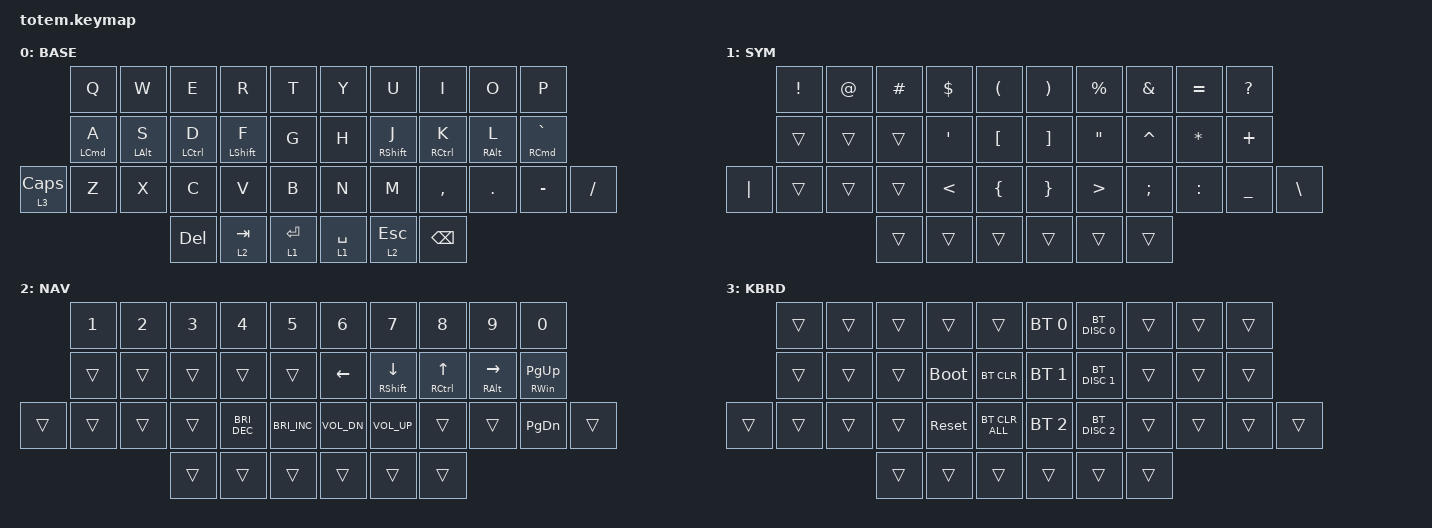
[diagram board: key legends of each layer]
//
//                                                        ▀▀▀▀▀     ▀▀▀▀▀          ▀▀█▀▀
//                                                        ▄▀▀▀▄  ▄  ▄▀▀▀▄  ▄  ▄▀▀▀▄  █  ▄▀▀▀▄
//                                                        █   █  █  █   █  █  █   █  █  █   █
//                                                         ▀▀▀   █   ▀▀▀   █   ▀▀▀   ▀   ▀▀▀
//                                                               █      ▄▄▄█▄▄▄    █   █  
//                                                               ▀      █  █  █     █▄█
//                                                             ▀▀▀▀▀    █  █  █      ▀
//                                                                      ▀  ▀  ▀
//
// ▄▄▄▄▄▄▄▄▄▄▄▄▄▄▄▄▄▄▄▄▄▄▄▄▄▄▄▄▄▄▄▄▄▄▄▄▄▄▄▄▄▄▄▄▄▄▄▄▄▄▄▄▄▄▄▄▄▄▄▄▄▄▄▄▄▄▄▄▄▄▄▄▄▄▄▄▄▄▄▄▄▄▄▄▄▄▄▄▄▄▄▄▄▄▄▄▄▄▄▄▄▄▄▄▄▄▄▄▄▄▄▄▄▄▄▄▄▄▄▄▄▄▄▄▄▄▄▄▄▄▄▄▄▄▄▄▄▄▄▄▄▄▄▄▄▄▄▄▄

#include <behaviors.dtsi>
#include <dt-bindings/zmk/bt.h>
#include <dt-bindings/zmk/keys.h>

#define BASE 0
#define NAV  1
#define SYM  2
#define ADJ  3
#define TVP1 4
#define TVP2 5

&mt {
    quick-tap-ms = <100>;
    global-quick-tap;
    flavor = "tap-preferred";
    tapping-term-ms = <170>;
};

&lt {
    tapping-term-ms = <280>;
    quick-tap-ms = <175>;
    require-prior-idle-ms = <150>;
    hold-trigger-on-release;
};

/ {
    combos { compatible = "zmk,combos"; };

    behaviors {
        hml: hml {
            compatible = "zmk,behavior-hold-tap";
            label = "HML";
            bindings = <&kp>, <&kp>;

            #binding-cells = <2>;
            tapping-term-ms = <280>;
            quick-tap-ms = <175>;
            flavor = "tap-preferred";
            hold-trigger-on-release;
            require-prior-idle-ms = <150>;
            hold-trigger-key-positions = <16 17 18 19 5 6 7 8 9 15 16 17 18 19 26 27 28 29 30 31 35 36 37 34 33 32>;
        };

        hmr: hmr {
            compatible = "zmk,behavior-hold-tap";
            label = "HMR";
            bindings = <&kp>, <&kp>;

            #binding-cells = <2>;
            tapping-term-ms = <280>;
            quick-tap-ms = <175>;
            flavor = "tap-preferred";
            hold-trigger-on-release;
            require-prior-idle-ms = <150>;
            hold-trigger-key-positions = <0 1 2 3 4 10 11 12 13 14 20 21 22 23 24 25 32 33 34 37 36 35>;
        };
    };

    keymap {
        compatible = "zmk,keymap";

        // ▄▄▄▄▄▄▄▄▄▄▄▄▄▄▄▄▄▄▄▄▄▄▄▄▄▄▄▄▄▄▄▄▄▄▄▄▄▄▄▄▄▄▄▄▄▄▄▄▄▄▄▄▄▄▄▄▄▄▄▄▄▄▄▄▄▄▄▄▄▄▄▄▄▄▄▄▄▄▄▄▄▄▄▄▄▄▄▄▄▄▄▄▄▄▄▄▄▄▄▄▄▄▄▄▄▄▄▄▄▄▄▄▄▄▄▄▄▄▄▄▄▄▄▄▄▄▄▄▄▄▄▄▄▄▄▄▄▄▄▄▄▄▄▄▄▄▄▄▄

        base_layer {
            // ┏━━━━━━━━━━━━━━━━━━━━━━━━━━━━━━━━━━━━━━━┓

            label = "BASE";

            // ┗━━━━━━━━━━━━━━━━━━━━━━━━━━━━━━━━━━━━━━━┛
            //             ┏━━━━━━━━━━━┳━━━━━━━━━━━┳━━━━━━━━━━━┳━━━━━━━━━━━┳━━━━━━━━━━━┓   ┏━━━━━━━━━━━┳━━━━━━━━━━━┳━━━━━━━━━━━┳━━━━━━━━━━━┳━━━━━━━━━━━┓
            //             ┃     Q     ┃     W     ┃     F     ┃     P     ┃     G     ┃   ┃     J     ┃     L     ┃     U     ┃     Y     ┃     ;     ┃
            //             ┣━━━━━━━━━━━╋━━━━━━━━━━━╋━━━━━━━━━━━╋━━━━━━━━━━━╋━━━━━━━━━━━┫   ┣━━━━━━━━━━━╋━━━━━━━━━━━╋━━━━━━━━━━━╋━━━━━━━━━━━╋━━━━━━━━━━━┫
            //             ┃     A     ┃     R     ┃     S     ┃     T     ┃     D     ┃   ┃     H     ┃     N     ┃     E     ┃     I     ┃     O     ┃
            // ┏━━━━━━━━━━━╋━━━━━━━━━━━╋━━━━━━━━━━━╋━━━━━━━━━━━╋━━━━━━━━━━━╋━━━━━━━━━━━┫   ┣━━━━━━━━━━━╋━━━━━━━━━━━╋━━━━━━━━━━━╋━━━━━━━━━━━╋━━━━━━━━━━━╋━━━━━━━━━━━┓
            // ┃     Q     ┃     Z     ┃     X     ┃     C     ┃     V     ┃     B     ┃   ┃     K     ┃     M     ┃     ,     ┃     .     ┃     /     ┃     \     ┃
            // ┗━━━━━━━━━━━┻━━━━━━━━━━━┻━━━━━━━━━━━╋━━━━━━━━━━━╋━━━━━━━━━━━╋━━━━━━━━━━━┫   ┣━━━━━━━━━━━╋━━━━━━━━━━━╋━━━━━━━━━━━╋━━━━━━━━━━━┻━━━━━━━━━━━┻━━━━━━━━━━━┛
            //                                     ┃    DEL    ┃    TAB    ┃    SPC    ┃   ┃   ENTER   ┃           ┃   BSPC    ┃
            //                                     ┗━━━━━━━━━━━┻━━━━━━━━━━━┻━━━━━━━━━━━┛   ┗━━━━━━━━━━━┻━━━━━━━━━━━┻━━━━━━━━━━━┛

            bindings = <
                &kp Q                &kp W            &kp E         &kp R              &kp T          &kp Y        &kp U               &kp I          &kp O             &kp P
                &hml LEFT_COMMAND A  &hml LEFT_ALT S  &hml LCTRL D  &hml LEFT_SHIFT F  &kp G          &kp H        &hmr RIGHT_SHIFT J  &hmr RCTRL K   &hmr RIGHT_ALT L  &hmr RIGHT_COMMAND GRAVE
&lt 3 CAPSLOCK  &kp Z                &kp X            &kp C         &kp V              &kp B          &kp N        &kp M               &kp COMMA      &kp DOT           &kp MINUS                 &kp SLASH
                                                      &kp DELETE    &lt 2 TAB          &lt 1 ENTER    &lt 1 SPACE  &lt 2 ESC           &kp BACKSPACE
            >;
        };

        // ▄▄▄▄▄▄▄▄▄▄▄▄▄▄▄▄▄▄▄▄▄▄▄▄▄▄▄▄▄▄▄▄▄▄▄▄▄▄▄▄▄▄▄▄▄▄▄▄▄▄▄▄▄▄▄▄▄▄▄▄▄▄▄▄▄▄▄▄▄▄▄▄▄▄▄▄▄▄▄▄▄▄▄▄▄▄▄▄▄▄▄▄▄▄▄▄▄▄▄▄▄▄▄▄▄▄▄▄▄▄▄▄▄▄▄▄▄▄▄▄▄▄▄▄▄▄▄▄▄▄▄▄▄▄▄▄▄▄▄▄▄▄▄▄▄▄▄▄▄

        symbols {
            // ┏━━━━━━━━━━━━━━━━━━━━━━━━━━━━━━━━━━━━━━━┓

            label = "SYM";

            // ┗━━━━━━━━━━━━━━━━━━━━━━━━━━━━━━━━━━━━━━━┛
            //             ┏━━━━━━━━━━━┳━━━━━━━━━━━┳━━━━━━━━━━━┳━━━━━━━━━━━┳━━━━━━━━━━━┓   ┏━━━━━━━━━━━┳━━━━━━━━━━━┳━━━━━━━━━━━┳━━━━━━━━━━━┳━━━━━━━━━━━┓
            //             ┃           ┃           ┃     UP    ┃           ┃     {     ┃   ┃     }     ┃     7     ┃     8     ┃     9     ┃     +     ┃
            //             ┣━━━━━━━━━━━╋━━━━━━━━━━━╋━━━━━━━━━━━╋━━━━━━━━━━━╋━━━━━━━━━━━┫   ┣━━━━━━━━━━━╋━━━━━━━━━━━╋━━━━━━━━━━━╋━━━━━━━━━━━╋━━━━━━━━━━━┫
            //             ┃   SHIFT   ┃   LEFT    ┃    DOWN   ┃   RIGHT   ┃     [     ┃   ┃     ]     ┃     4     ┃     5     ┃     6     ┃     -     ┃
            // ┏━━━━━━━━━━━╋━━━━━━━━━━━╋━━━━━━━━━━━╋━━━━━━━━━━━╋━━━━━━━━━━━╋━━━━━━━━━━━┫   ┣━━━━━━━━━━━╋━━━━━━━━━━━╋━━━━━━━━━━━╋━━━━━━━━━━━╋━━━━━━━━━━━╋━━━━━━━━━━━┓
            // ┃           ┃           ┃   P UP    ┃  C LOCK   ┃  P DOWN   ┃     (     ┃   ┃     )     ┃     1     ┃     2     ┃     3     ┃     *     ┃           ┃
            // ┗━━━━━━━━━━━┻━━━━━━━━━━━┻━━━━━━━━━━━╋━━━━━━━━━━━╋━━━━━━━━━━━╋━━━━━━━━━━━┫   ┣━━━━━━━━━━━╋━━━━━━━━━━━╋━━━━━━━━━━━╋━━━━━━━━━━━┻━━━━━━━━━━━┻━━━━━━━━━━━┛
            //                                     ┃           ┃    TAB    ┃    SPC    ┃   ┃    DEL    ┃     0     ┃           ┃
            //                                     ┗━━━━━━━━━━━┻━━━━━━━━━━━┻━━━━━━━━━━━┛   ┗━━━━━━━━━━━┻━━━━━━━━━━━┻━━━━━━━━━━━┛

            bindings = <
          &kp EXCLAMATION  &kp AT_SIGN  &kp HASH  &kp DOLLAR     &kp LEFT_PARENTHESIS    &kp RIGHT_PARENTHESIS  &kp PERCENT        &kp AMPERSAND  &kp EQUAL     &kp QUESTION
          &trans           &trans       &trans    &kp SQT        &kp LBKT                &kp RBKT               &kp DOUBLE_QUOTES  &kp CARET      &kp ASTERISK  &kp PLUS
&kp PIPE  &trans           &trans       &trans    &kp LESS_THAN  &kp LEFT_BRACE          &kp RIGHT_BRACE        &kp GREATER_THAN   &kp SEMICOLON  &kp COLON     &kp UNDERSCORE  &kp BACKSLASH
                                        &trans    &trans         &trans                  &trans                 &trans             &trans
            >;
        };

        // ▄▄▄▄▄▄▄▄▄▄▄▄▄▄▄▄▄▄▄▄▄▄▄▄▄▄▄▄▄▄▄▄▄▄▄▄▄▄▄▄▄▄▄▄▄▄▄▄▄▄▄▄▄▄▄▄▄▄▄▄▄▄▄▄▄▄▄▄▄▄▄▄▄▄▄▄▄▄▄▄▄▄▄▄▄▄▄▄▄▄▄▄▄▄▄▄▄▄▄▄▄▄▄▄▄▄▄▄▄▄▄▄▄▄▄▄▄▄▄▄▄▄▄▄▄▄▄▄▄▄▄▄▄▄▄▄▄▄▄▄▄▄▄▄▄▄▄▄▄

        navigation {
            // ┏━━━━━━━━━━━━━━━━━━━━━━━━━━━━━━━━━━━━━━━┓

            label = "NAV";

            // ┗━━━━━━━━━━━━━━━━━━━━━━━━━━━━━━━━━━━━━━━┛
            //             ┏━━━━━━━━━━━┳━━━━━━━━━━━┳━━━━━━━━━━━┳━━━━━━━━━━━┳━━━━━━━━━━━┓   ┏━━━━━━━━━━━┳━━━━━━━━━━━┳━━━━━━━━━━━┳━━━━━━━━━━━┳━━━━━━━━━━━┓
            //             ┃     !     ┃     @     ┃     #     ┃     $     ┃     %     ┃   ┃     ˆ     ┃     &     ┃     Ü     ┃     '     ┃     "     ┃
            //             ┣━━━━━━━━━━━╋━━━━━━━━━━━╋━━━━━━━━━━━╋━━━━━━━━━━━╋━━━━━━━━━━━┫   ┣━━━━━━━━━━━╋━━━━━━━━━━━╋━━━━━━━━━━━╋━━━━━━━━━━━╋━━━━━━━━━━━┫
            //             ┃     Ä     ┃           ┃    SZ     ┃           ┃           ┃   ┃   MUTE    ┃   YEN     ┃   EURO    ┃  POUND    ┃     Ö     ┃
            // ┏━━━━━━━━━━━╋━━━━━━━━━━━╋━━━━━━━━━━━╋━━━━━━━━━━━╋━━━━━━━━━━━╋━━━━━━━━━━━┫   ┣━━━━━━━━━━━╋━━━━━━━━━━━╋━━━━━━━━━━━╋━━━━━━━━━━━╋━━━━━━━━━━━╋━━━━━━━━━━━┓
            // ┃           ┃  EMAIL1   ┃  EMAIL2   ┃           ┃           ┃           ┃   ┃   VOL-    ┃   VOL+    ┃   LAST    ┃   NEXT    ┃     \     ┃           ┃
            // ┗━━━━━━━━━━━┻━━━━━━━━━━━┻━━━━━━━━━━━╋━━━━━━━━━━━╋━━━━━━━━━━━╋━━━━━━━━━━━┫   ┣━━━━━━━━━━━╋━━━━━━━━━━━╋━━━━━━━━━━━╋━━━━━━━━━━━┻━━━━━━━━━━━┻━━━━━━━━━━━┛
            //                                     ┃           ┃    GIF    ┃    ADJ    ┃   ┃           ┃           ┃           ┃
            //                                     ┗━━━━━━━━━━━┻━━━━━━━━━━━┻━━━━━━━━━━━┛   ┗━━━━━━━━━━━┻━━━━━━━━━━━┻━━━━━━━━━━━┛

            bindings = <
        &kp NUMBER_1  &kp NUMBER_2  &kp NUMBER_3  &kp NUMBER_4          &kp NUMBER_5            &kp NUMBER_6    &kp NUMBER_7                 &kp NUMBER_8         &kp NUMBER_9                &kp NUMBER_0
        &trans        &trans        &trans        &trans                &trans                  &kp LEFT_ARROW  &hmr RIGHT_SHIFT DOWN_ARROW  &hmr RCTRL UP_ARROW  &hmr RIGHT_ALT RIGHT_ARROW  &hmr RIGHT_WIN PAGE_UP
&trans  &trans        &trans        &trans        &kp C_BRIGHTNESS_DEC  &kp C_BRIGHTNESS_INC    &kp C_VOL_DN    &kp C_VOL_UP                 &trans               &trans                      &kp PAGE_DOWN           &trans
                                    &trans        &trans                &trans                  &trans          &trans                       &trans
            >;
        };

        // ▄▄▄▄▄▄▄▄▄▄▄▄▄▄▄▄▄▄▄▄▄▄▄▄▄▄▄▄▄▄▄▄▄▄▄▄▄▄▄▄▄▄▄▄▄▄▄▄▄▄▄▄▄▄▄▄▄▄▄▄▄▄▄▄▄▄▄▄▄▄▄▄▄▄▄▄▄▄▄▄▄▄▄▄▄▄▄▄▄▄▄▄▄▄▄▄▄▄▄▄▄▄▄▄▄▄▄▄▄▄▄▄▄▄▄▄▄▄▄▄▄▄▄▄▄▄▄▄▄▄▄▄▄▄▄▄▄▄▄▄▄▄▄▄▄▄▄▄▄

        keyboard {
            // ┏━━━━━━━━━━━━━━━━━━━━━━━━━━━━━━━━━━━━━━━┓

            label = "KBRD";

            // ┗━━━━━━━━━━━━━━━━━━━━━━━━━━━━━━━━━━━━━━━┛
            //             ┏━━━━━━━━━━━┳━━━━━━━━━━━┳━━━━━━━━━━━┳━━━━━━━━━━━┳━━━━━━━━━━━┓   ┏━━━━━━━━━━━┳━━━━━━━━━━━┳━━━━━━━━━━━┳━━━━━━━━━━━┳━━━━━━━━━━━┓
            //             ┃   RESET   ┃ BT CLEAR  ┃  OUT TOG  ┃           ┃           ┃   ┃           ┃    F7     ┃    F8     ┃    F9     ┃    F12    ┃
            //             ┣━━━━━━━━━━━╋━━━━━━━━━━━╋━━━━━━━━━━━╋━━━━━━━━━━━╋━━━━━━━━━━━┫   ┣━━━━━━━━━━━╋━━━━━━━━━━━╋━━━━━━━━━━━╋━━━━━━━━━━━╋━━━━━━━━━━━┫
            //             ┃ BOOTLOAD  ┃ BT NEXT   ┃           ┃           ┃           ┃   ┃           ┃    F4     ┃    F5     ┃    F6     ┃    F11    ┃
            // ┏━━━━━━━━━━━╋━━━━━━━━━━━╋━━━━━━━━━━━╋━━━━━━━━━━━╋━━━━━━━━━━━╋━━━━━━━━━━━┫   ┣━━━━━━━━━━━╋━━━━━━━━━━━╋━━━━━━━━━━━╋━━━━━━━━━━━╋━━━━━━━━━━━╋━━━━━━━━━━━┓
            // ┃           ┃           ┃ BT PREV   ┃           ┃           ┃           ┃   ┃           ┃    F1     ┃    F2     ┃    F3     ┃    F10    ┃           ┃
            // ┗━━━━━━━━━━━┻━━━━━━━━━━━┻━━━━━━━━━━━╋━━━━━━━━━━━╋━━━━━━━━━━━╋━━━━━━━━━━━┫   ┣━━━━━━━━━━━╋━━━━━━━━━━━╋━━━━━━━━━━━╋━━━━━━━━━━━┻━━━━━━━━━━━┻━━━━━━━━━━━┛
            //                                     ┃           ┃           ┃           ┃   ┃           ┃           ┃           ┃
            //                                     ┗━━━━━━━━━━━┻━━━━━━━━━━━┻━━━━━━━━━━━┛   ┗━━━━━━━━━━━┻━━━━━━━━━━━┻━━━━━━━━━━━┛

            bindings = <
        &trans  &trans  &trans  &trans       &trans            &bt BT_SEL 0  &bt BT_DISC 0  &trans  &trans  &trans
        &trans  &trans  &trans  &bootloader  &bt BT_CLR        &bt BT_SEL 1  &bt BT_DISC 1  &trans  &trans  &trans
&trans  &trans  &trans  &trans  &sys_reset   &bt BT_CLR_ALL    &bt BT_SEL 2  &bt BT_DISC 2  &trans  &trans  &trans  &trans
                        &trans  &trans       &trans            &trans        &trans         &trans
            >;
        };

        // ▄▄▄▄▄▄▄▄▄▄▄▄▄▄▄▄▄▄▄▄▄▄▄▄▄▄▄▄▄▄▄▄▄▄▄▄▄▄▄▄▄▄▄▄▄▄▄▄▄▄▄▄▄▄▄▄▄▄▄▄▄▄▄▄▄▄▄▄▄▄▄▄▄▄▄▄▄▄▄▄▄▄▄▄▄▄▄▄▄▄▄▄▄▄▄▄▄▄▄▄▄▄▄▄▄▄▄▄▄▄▄▄▄▄▄▄▄▄▄▄▄▄▄▄▄▄▄▄▄▄▄▄▄▄▄▄▄▄▄▄▄▄▄▄▄▄▄▄▄
        // ▄▄▄▄▄▄▄▄▄▄▄▄▄▄▄▄▄▄▄▄▄▄▄▄▄▄▄▄▄▄▄▄▄▄▄▄▄▄▄▄▄▄▄▄▄▄▄▄▄▄▄▄▄▄▄▄▄▄▄▄▄▄▄▄▄▄▄▄▄▄▄▄▄▄▄▄▄▄▄▄▄▄▄▄▄▄▄▄▄▄▄▄▄▄▄▄▄▄▄▄▄▄▄▄▄▄▄▄▄▄▄▄▄▄▄▄▄▄▄▄▄▄▄▄▄▄▄▄▄▄▄▄▄▄▄▄▄▄▄▄▄▄▄▄▄▄▄▄▄
    };
};
